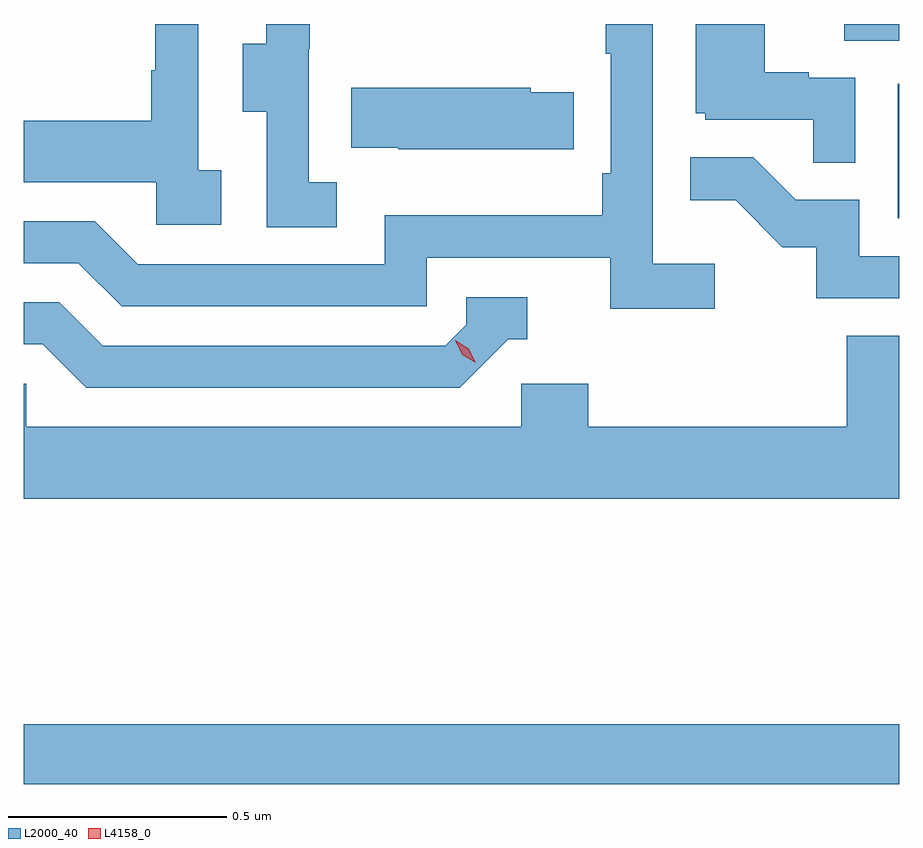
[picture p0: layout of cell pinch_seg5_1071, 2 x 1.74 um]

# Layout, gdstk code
import gdstk
lib = gdstk.Library(unit=1e-6, precision=1e-09)
def R(c, l, rs):  # rectangles x0, y0, x1, y1
    for r in rs: c.add(gdstk.rectangle(r[:2], r[2:], *l))
def P(c, l, *ps):  # polygons
    for p in ps: c.add(gdstk.Polygon(p, *l))
L2000_40 = (2000, 40)
L4158_0 = (4158, 0)

pinch_seg5_1071 = lib.new_cell('pinch_seg5_1071')
R(pinch_seg5_1071, L2000_40, [(849.789,870.76,851.789,870.896), (851.786,872.052,851.789,872.359), (851.663,872.458,851.789,872.496)])
P(pinch_seg5_1071, L2000_40, [(851.688,872.373),(851.582,872.373),(851.582,872.386),(851.482,872.386),(851.482,872.496),(851.324,872.496),(851.324,872.292),(851.346,872.292),(851.346,872.277),(851.593,872.277),(851.593,872.179),(851.688,872.179)],
  [(850.24,872.162),(850.188,872.162),(850.188,872.496),(850.09,872.496),(850.09,872.39),(850.08,872.39),(850.08,872.275),(849.789,872.275),(849.789,872.135),(850.092,872.135),(850.092,872.037),(850.24,872.037)],
  [(851.368,871.948),(851.226,871.948),(851.226,872.496),(851.118,872.496),(851.118,872.428),(851.13,872.428),(851.13,872.155),(851.11,872.155),(851.11,872.059),(850.614,872.059),(850.614,871.947),(850.05,871.947),(849.951,872.046),(849.789,872.046),(849.789,871.95),(849.914,871.95),(850.013,871.851),(850.71,871.851),(850.71,871.962),(851.129,871.962),(851.129,871.846),(851.368,871.846)],
  [(850.504,872.135),(850.44,872.135),(850.44,872.439),(850.442,872.439),(850.442,872.496),(850.343,872.496),(850.343,872.451),(850.289,872.451),(850.289,872.296),(850.344,872.296),(850.344,872.032),(850.504,872.032)],
  [(851.045,872.34),(850.947,872.34),(850.947,872.35),(850.537,872.35),(850.537,872.213),(850.645,872.213),(850.645,872.21),(851.045,872.21)],
  [(851.789,871.965),(851.697,871.965),(851.697,872.094),(851.553,872.094),(851.455,872.192),(851.311,872.192),(851.311,872.093),(851.415,872.093),(851.522,871.986),(851.599,871.986),(851.599,871.869),(851.789,871.869)],
  [(850.896,871.776),(850.939,871.776),(850.939,871.872),(850.8,871.872),(850.8,871.809),(850.752,871.761),(849.969,871.761),(849.87,871.86),(849.789,871.86),(849.789,871.764),(849.833,871.764),(849.932,871.665),(850.785,871.665)],
  [(851.789,871.784),(851.669,871.784),(851.669,871.576),(851.078,871.576),(851.078,871.674),(850.926,871.674),(850.926,871.576),(849.795,871.576),(849.795,871.674),(849.789,871.674),(849.789,871.412),(851.789,871.412)])
P(pinch_seg5_1071, L4158_0, [(850.822,871.722),(850.791,871.741),(850.775,871.773),(850.775,871.774),(850.775,871.774),(850.806,871.754),(850.822,871.722),(850.822,871.722)])

lib.write_gds('pinch_seg5_1071.gds')
